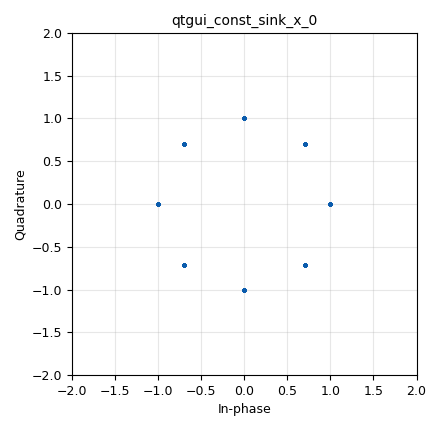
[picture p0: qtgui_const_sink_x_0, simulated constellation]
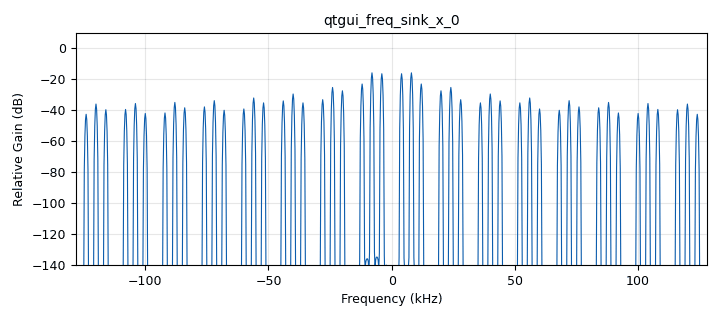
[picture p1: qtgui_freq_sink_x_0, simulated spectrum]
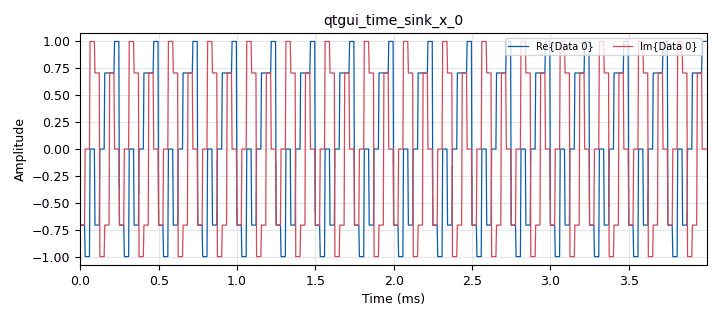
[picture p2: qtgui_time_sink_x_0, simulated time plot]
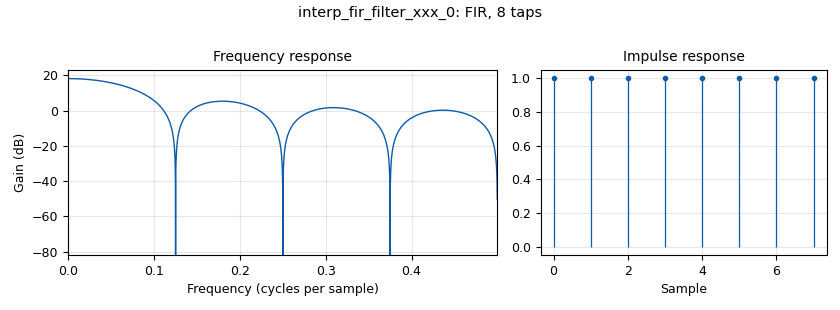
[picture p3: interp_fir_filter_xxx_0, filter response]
options:
  parameters:
    generate_options: qt_gui
    id: lab4
    output_language: python
    title: Not titled yet
  states: {}

blocks:
- name: M
  id: variable
  parameters:
    value: len(tabla_verdad_constelacion)
  states: {}
- name: Rb
  id: variable
  parameters:
    value: Rs*bps
  states: {}
- name: Rs
  id: variable
  parameters:
    value: '32000'
  states: {}
- name: Sps
  id: variable
  parameters:
    value: '8'
  states: {}
- name: bps
  id: variable
  parameters:
    value: int(math.log(M,2))
  states: {}
- name: h
  id: variable
  parameters:
    value: '[ 1]*Sps'
  states: {}
- name: samp_rate
  id: variable
  parameters:
    value: Rs*Sps
  states: {}
- name: tabla_verdad_constelacion
  id: variable
  parameters:
    value: (-0.707 -0.707j,-1+ 0j,0 + 1j,- 0.707 + 0.707j, 0-1j, 0.707 -0.707j, 0.707+0.707j,1-0j)
  states: {}
- name: analog_noise_source_x_0
  id: analog_noise_source_x
  parameters:
    amp: '0.2'
    noise_type: analog.GR_GAUSSIAN
    seed: '0'
    type: complex
  states: {state: disabled}
- name: analog_random_source_x_0
  id: analog_random_source_x
  parameters:
    max: '7'
    min: '0'
    num_samps: '1000'
    repeat: 'True'
    type: byte
  states: {state: disabled}
- name: blocks_add_xx_0
  id: blocks_add_xx
  parameters:
    type: complex
  states: {state: disabled}
- name: blocks_pack_k_bits_bb_0
  id: blocks_pack_k_bits_bb
  parameters:
    k: '8'
  states: {state: disabled}
- name: blocks_packed_to_unpacked_xx_0
  id: blocks_packed_to_unpacked_xx
  parameters:
    bits_per_chunk: bps
    endianness: gr.GR_MSB_FIRST
    type: byte
  states: {state: disabled}
- name: blocks_vector_source_x_0
  id: blocks_vector_source_x
  parameters:
    repeat: 'True'
    type: byte
    vector: (0,1,2,3,4,5,6,7)
  states: {}
- name: digital_chunks_to_symbols_xx_0
  id: digital_chunks_to_symbols_xx
  parameters:
    dimension: '1'
    in_type: byte
    out_type: complex
    symbol_table: tabla_verdad_constelacion
  states: {}
- name: import_0
  id: import
  parameters:
    imports: import math
  states: {}
- name: interp_fir_filter_xxx_0
  id: interp_fir_filter_xxx
  parameters:
    interp: Sps
    taps: h
    type: ccc
  states: {}
- name: qtgui_const_sink_x_0
  id: qtgui_const_sink_x
  parameters:
    size: '1024'
    type: complex
  states: {}
- name: qtgui_freq_sink_x_0
  id: qtgui_freq_sink_x
  parameters:
    average: '0.05'
    bw: samp_rate
    fc: '0'
    fftsize: '1024'
    type: complex
  states: {}
- name: qtgui_time_sink_x_0
  id: qtgui_time_sink_x
  parameters:
    size: '1024'
    srate: samp_rate
    type: complex
  states: {}
- name: virtual_sink_0
  id: virtual_sink
  parameters:
    stream_id: p1
  states: {}
- name: virtual_sink_0_0
  id: virtual_sink
  parameters:
    stream_id: p0
  states: {}
- name: virtual_source_0
  id: virtual_source
  parameters:
    stream_id: p1
  states: {}
- name: virtual_source_0_0
  id: virtual_source
  parameters:
    stream_id: p0
  states: {}

connections:
- [analog_noise_source_x_0, '0', blocks_add_xx_0, '0']
- [analog_random_source_x_0, '0', blocks_pack_k_bits_bb_0, '0']
- [blocks_add_xx_0, '0', virtual_sink_0, '0']
- [blocks_pack_k_bits_bb_0, '0', blocks_packed_to_unpacked_xx_0, '0']
- [blocks_packed_to_unpacked_xx_0, '0', digital_chunks_to_symbols_xx_0, '0']
- [blocks_vector_source_x_0, '0', digital_chunks_to_symbols_xx_0, '0']
- [digital_chunks_to_symbols_xx_0, '0', interp_fir_filter_xxx_0, '0']
- [interp_fir_filter_xxx_0, '0', virtual_sink_0, '0']
- [interp_fir_filter_xxx_0, '0', virtual_sink_0_0, '0']
- [virtual_source_0, '0', qtgui_const_sink_x_0, '0']
- [virtual_source_0, '0', qtgui_time_sink_x_0, '0']
- [virtual_source_0_0, '0', qtgui_freq_sink_x_0, '0']

metadata:
  file_format: 1
  grc_version: 3.10.5.1
